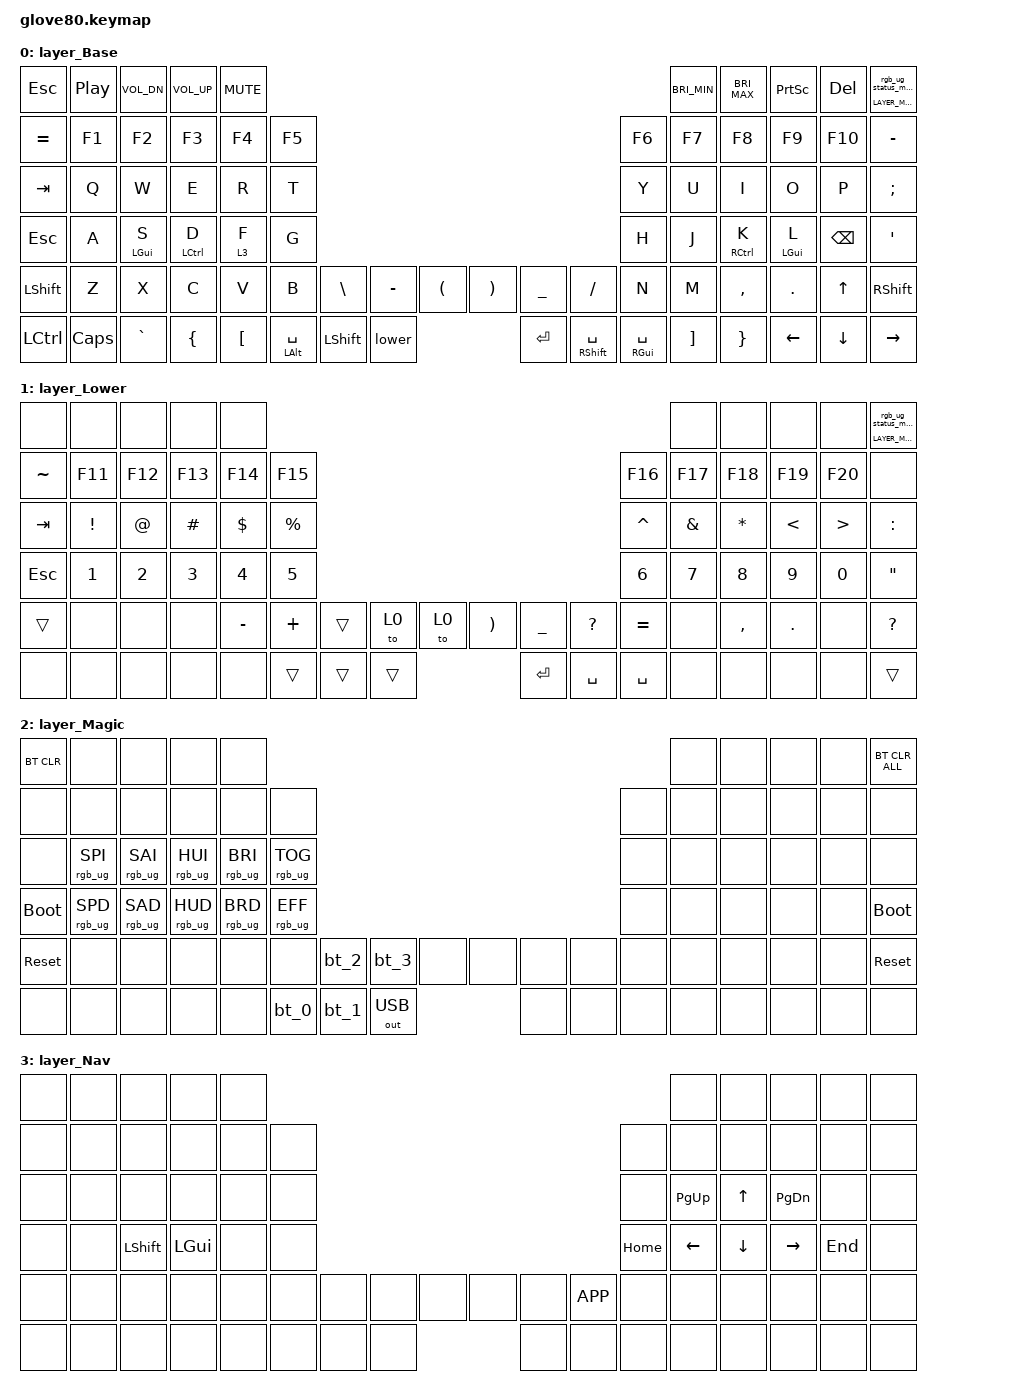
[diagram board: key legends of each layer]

/*
 * Copyright (c) 2020 The ZMK Contributors
 * Copyright (c) 2023 Innaworks Development Limited, trading as MoErgo
 *
 * SPDX-License-Identifier: MIT
 */


/* THIS FILE WAS GENERATED BY GLOVE80 LAYOUT EDITOR
 *
 * This file was generated automatically. You may or may not want to
 * edit it directly.
 */

#include <behaviors.dtsi>
/* Include all behaviour includes needed */
#include <dt-bindings/zmk/outputs.h>
#include <dt-bindings/zmk/keys.h>
#include <dt-bindings/zmk/bt.h>
#include <dt-bindings/zmk/rgb.h>

/* Automatically generated layer name #define */
#define LAYER_Base 0
#define LAYER_Lower 1
#define LAYER_Magic 2
#define LAYER_Nav 3

/* To deal with the situation where there is no Lower layer, to keep &lower happy */
#ifndef LAYER_Lower
#define LAYER_Lower 0
#endif

/* Custom Device-tree */
&mt {
    flavor = "tap-preferred";
    tapping-term-ms = <170>;
};

&lt {
    tapping-term-ms = <170>;
    flavor = "tap-preferred";
};


/* Glove80 system behavior & macros */
/ {
    behaviors {
        // For the "layer" key, it'd nice to be able to use it as either a shift or a toggle.
        // Configure it as a tap dance, so the first tap (or hold) is a &mo and the second tap is a &to
        lower: lower {
            compatible = "zmk,behavior-tap-dance";
            label = "LAYER_TAP_DANCE";
            #binding-cells = <0>;
            tapping-term-ms = <200>;
            bindings = <&mo LAYER_Lower>, <&to LAYER_Lower>;
        };
    };
};

/ {
    macros {
        rgb_ug_status_macro: rgb_ug_status_macro {
            label = "RGB_UG_STATUS";
            compatible = "zmk,behavior-macro";
            #binding-cells = <0>;
            bindings
                = <&rgb_ug RGB_STATUS>;
        };
    };
};


/ {
#ifdef BT_DISC_CMD
    behaviors {
        bt_0: bt_0 {
            compatible = "zmk,behavior-tap-dance";
            label = "BT_0";
            #binding-cells = <0>;
            tapping-term-ms = <200>;
            bindings = <&bt_select_0>, <&bt BT_DISC 0>;
        };
        bt_1: bt_1 {
            compatible = "zmk,behavior-tap-dance";
            label = "BT_1";
            #binding-cells = <0>;
            tapping-term-ms = <200>;
            bindings = <&bt_select_1>, <&bt BT_DISC 1>;
        };
        bt_2: bt_2 {
            compatible = "zmk,behavior-tap-dance";
            label = "BT_2";
            #binding-cells = <0>;
            tapping-term-ms = <200>;
            bindings = <&bt_select_2>, <&bt BT_DISC 2>;
        };
        bt_3: bt_3 {
            compatible = "zmk,behavior-tap-dance";
            label = "BT_3";
            #binding-cells = <0>;
            tapping-term-ms = <200>;
            bindings = <&bt_select_3>, <&bt BT_DISC 3>;
        };
    };
    macros {
        bt_select_0: bt_select_0 {
            label = "BT_SELECT_0";
            compatible = "zmk,behavior-macro";
            #binding-cells = <0>;
            bindings
                = <&out OUT_BLE>,
                  <&bt BT_SEL 0>;
        };
        bt_select_1: bt_select_1 {
            label = "BT_SELECT_1";
            compatible = "zmk,behavior-macro";
            #binding-cells = <0>;
            bindings
                = <&out OUT_BLE>,
                  <&bt BT_SEL 1>;
        };
        bt_select_2: bt_select_2 {
            label = "BT_SELECT_2";
            compatible = "zmk,behavior-macro";
            #binding-cells = <0>;
            bindings
                = <&out OUT_BLE>,
                  <&bt BT_SEL 2>;
        };
        bt_select_3: bt_select_3 {
            label = "BT_SELECT_3";
            compatible = "zmk,behavior-macro";
            #binding-cells = <0>;
            bindings
                = <&out OUT_BLE>,
                  <&bt BT_SEL 3>;
        };
    };
#else
    macros {
        bt_0: bt_0 {
            label = "BT_0";
            compatible = "zmk,behavior-macro";
            #binding-cells = <0>;
            bindings
                = <&out OUT_BLE>,
                  <&bt BT_SEL 0>;
        };
        bt_1: bt_1 {
            label = "BT_1";
            compatible = "zmk,behavior-macro";
            #binding-cells = <0>;
            bindings
                = <&out OUT_BLE>,
                  <&bt BT_SEL 1>;
        };
        bt_2: bt_2 {
            label = "BT_2";
            compatible = "zmk,behavior-macro";
            #binding-cells = <0>;
            bindings
                = <&out OUT_BLE>,
                  <&bt BT_SEL 2>;
        };
        bt_3: bt_3 {
            label = "BT_3";
            compatible = "zmk,behavior-macro";
            #binding-cells = <0>;
            bindings
                = <&out OUT_BLE>,
                  <&bt BT_SEL 3>;
        };
    };
#endif
};

/ {
    behaviors {
        magic: magic {
            compatible = "zmk,behavior-hold-tap";
            label = "MAGIC_HOLD_TAP";
            #binding-cells = <2>;
            flavor = "tap-preferred";
            tapping-term-ms = <200>;
            bindings = <&mo>, <&rgb_ug_status_macro>;
        };
    };
};

/* #define for key positions */
#define POS_LH_T1 52
#define POS_LH_T2 53
#define POS_LH_T3 54
#define POS_LH_T4 69
#define POS_LH_T5 70
#define POS_LH_T6 71
#define POS_LH_C1R2 15
#define POS_LH_C1R3 27
#define POS_LH_C1R4 39
#define POS_LH_C1R5 51
#define POS_LH_C2R1 4
#define POS_LH_C2R2 14
#define POS_LH_C2R3 26
#define POS_LH_C2R4 38
#define POS_LH_C2R5 50
#define POS_LH_C2R6 68
#define POS_LH_C3R1 3
#define POS_LH_C3R2 13
#define POS_LH_C3R3 25
#define POS_LH_C3R4 37
#define POS_LH_C3R5 49
#define POS_LH_C3R6 67
#define POS_LH_C4R1 2
#define POS_LH_C4R2 12
#define POS_LH_C4R3 24
#define POS_LH_C4R4 36
#define POS_LH_C4R5 48
#define POS_LH_C4R6 66
#define POS_LH_C5R1 1
#define POS_LH_C5R2 11
#define POS_LH_C5R3 23
#define POS_LH_C5R4 35
#define POS_LH_C5R5 47
#define POS_LH_C5R6 65
#define POS_LH_C6R1 0
#define POS_LH_C6R2 10
#define POS_LH_C6R3 22
#define POS_LH_C6R4 34
#define POS_LH_C6R5 46
#define POS_LH_C6R6 64
#define POS_RH_T1 57
#define POS_RH_T2 56
#define POS_RH_T3 55
#define POS_RH_T4 74
#define POS_RH_T5 73
#define POS_RH_T6 72
#define POS_RH_C1R2 16
#define POS_RH_C1R3 28
#define POS_RH_C1R4 40
#define POS_RH_C1R5 58
#define POS_RH_C2R1 5
#define POS_RH_C2R2 17
#define POS_RH_C2R3 29
#define POS_RH_C2R4 41
#define POS_RH_C2R5 59
#define POS_RH_C2R6 75
#define POS_RH_C3R1 6
#define POS_RH_C3R2 18
#define POS_RH_C3R3 30
#define POS_RH_C3R4 42
#define POS_RH_C3R5 60
#define POS_RH_C3R6 76
#define POS_RH_C4R1 7
#define POS_RH_C4R2 19
#define POS_RH_C4R3 31
#define POS_RH_C4R4 43
#define POS_RH_C4R5 61
#define POS_RH_C4R6 77
#define POS_RH_C5R1 8
#define POS_RH_C5R2 20
#define POS_RH_C5R3 32
#define POS_RH_C5R4 44
#define POS_RH_C5R5 62
#define POS_RH_C5R6 78
#define POS_RH_C6R1 9
#define POS_RH_C6R2 21
#define POS_RH_C6R3 33
#define POS_RH_C6R4 45
#define POS_RH_C6R5 63
#define POS_RH_C6R6 79

/* Custom Defined Behaviors */
/ {
    
};

/* Automatically generated macro definitions */
/ {
    macros {
    
    };
};

/* Automatically generated keymap */
/ {
    keymap {
        compatible = "zmk,keymap";


        layer_Base {
            bindings = <
   &kp ESC  &kp C_PP  &kp C_VOL_DN  &kp C_VOL_UP  &kp C_MUTE                                                                                                  &kp C_BRI_MIN  &kp C_BRI_MAX   &kp PSCRN   &kp DEL  &magic LAYER_Magic 0
 &kp EQUAL    &kp F1        &kp F2        &kp F3      &kp F4  &kp F5                                                                                  &kp F6         &kp F7         &kp F8      &kp F9   &kp F10             &kp MINUS
   &kp TAB     &kp Q         &kp W         &kp E       &kp R   &kp T                                                                                   &kp Y          &kp U          &kp I       &kp O     &kp P              &kp SEMI
   &kp ESC     &kp A    &mt LGUI S   &mt LCTRL D     &lt 3 F   &kp G                                                                                   &kp H          &kp J    &mt RCTRL K  &mt LGUI L  &kp BSPC               &kp SQT
 &kp LSHFT     &kp Z         &kp X         &kp C       &kp V   &kp B        &kp BSLH  &kp MINUS  &kp LPAR  &kp RPAR        &kp UNDER        &kp FSLH   &kp N          &kp M      &kp COMMA     &kp DOT    &kp UP             &kp RSHFT
 &kp LCTRL  &kp CAPS     &kp GRAVE      &kp LBRC    &kp LBKT          &mt LALT SPACE  &kp LSHFT    &lower   &kp RET  &mt RSHFT SPACE  &mt RGUI SPACE               &kp RBKT       &kp RBRC    &kp LEFT  &kp DOWN             &kp RIGHT
            >;
        };

        layer_Lower {
            bindings = <
     &none     &none    &none     &none      &none                                                                                   &none      &none    &none    &none  &magic LAYER_Magic 0
 &kp TILDE   &kp F11  &kp F12   &kp F13    &kp F14    &kp F15                                                            &kp F16   &kp F17    &kp F18  &kp F19  &kp F20                 &none
   &kp TAB  &kp EXCL   &kp AT  &kp HASH   &kp DLLR  &kp PRCNT                                                          &kp CARET  &kp AMPS   &kp STAR   &kp LT   &kp GT             &kp COLON
   &kp ESC    &kp N1   &kp N2    &kp N3     &kp N4     &kp N5                                                             &kp N6    &kp N7     &kp N8   &kp N9   &kp N0               &kp DQT
    &trans     &none    &none     &none  &kp MINUS   &kp PLUS  &trans   &to 0   &to 0  &kp RPAR  &kp UNDER  &kp QMARK  &kp EQUAL     &none  &kp COMMA  &kp DOT    &none             &kp QMARK
     &none     &none    &none     &none      &none             &trans  &trans  &trans   &kp RET  &kp SPACE  &kp SPACE                &none      &none    &none    &none                &trans
            >;
        };

        layer_Magic {
            bindings = <
  &bt BT_CLR            &none            &none            &none            &none                                                                                  &none   &none   &none   &none  &bt BT_CLR_ALL
       &none            &none            &none            &none            &none            &none                                                         &none   &none   &none   &none   &none           &none
       &none  &rgb_ug RGB_SPI  &rgb_ug RGB_SAI  &rgb_ug RGB_HUI  &rgb_ug RGB_BRI  &rgb_ug RGB_TOG                                                         &none   &none   &none   &none   &none           &none
 &bootloader  &rgb_ug RGB_SPD  &rgb_ug RGB_SAD  &rgb_ug RGB_HUD  &rgb_ug RGB_BRD  &rgb_ug RGB_EFF                                                         &none   &none   &none   &none   &none     &bootloader
  &sys_reset            &none            &none            &none            &none            &none   &bt_2   &bt_3         &none   &none   &none   &none   &none   &none   &none   &none   &none      &sys_reset
       &none            &none            &none            &none            &none                    &bt_0   &bt_1  &out OUT_USB   &none   &none   &none           &none   &none   &none   &none           &none
            >;
        };

        layer_Nav {
            bindings = <
  &none   &none      &none     &none   &none                                                                           &none     &none      &none    &none   &none
  &none   &none      &none     &none   &none   &none                                                        &none      &none     &none      &none    &none   &none
  &none   &none      &none     &none   &none   &none                                                        &none  &kp PG_UP    &kp UP  &kp PG_DN    &none   &none
  &none   &none  &kp LSHFT  &kp LGUI   &none   &none                                                     &kp HOME   &kp LEFT  &kp DOWN  &kp RIGHT  &kp END   &none
  &none   &none      &none     &none   &none   &none   &none   &none   &none   &none   &none  &kp K_APP     &none      &none     &none      &none    &none   &none
  &none   &none      &none     &none   &none           &none   &none   &none   &none   &none      &none                &none     &none      &none    &none   &none
            >;
        };

    };
};
